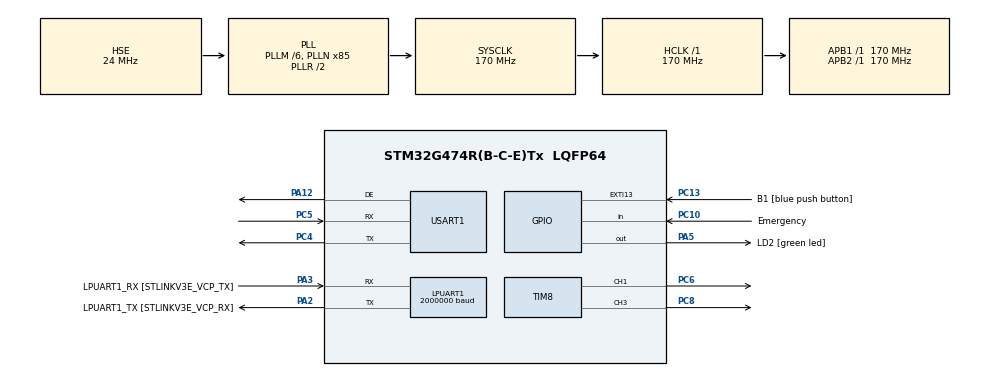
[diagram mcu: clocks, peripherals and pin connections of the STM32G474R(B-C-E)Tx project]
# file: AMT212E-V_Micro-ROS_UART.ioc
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Dma.LPUART1_RX.0.Direction=DMA_PERIPH_TO_MEMORY
Dma.LPUART1_RX.0.EventEnable=DISABLE
Dma.LPUART1_RX.0.Instance=DMA1_Channel1
Dma.LPUART1_RX.0.MemDataAlignment=DMA_MDATAALIGN_BYTE
Dma.LPUART1_RX.0.MemInc=DMA_MINC_ENABLE
Dma.LPUART1_RX.0.Mode=DMA_CIRCULAR
Dma.LPUART1_RX.0.PeriphDataAlignment=DMA_PDATAALIGN_BYTE
Dma.LPUART1_RX.0.PeriphInc=DMA_PINC_DISABLE
Dma.LPUART1_RX.0.Polarity=HAL_DMAMUX_REQ_GEN_RISING
Dma.LPUART1_RX.0.Priority=DMA_PRIORITY_VERY_HIGH
Dma.LPUART1_RX.0.RequestNumber=1
Dma.LPUART1_RX.0.SignalID=NONE
Dma.LPUART1_RX.0.SyncEnable=DISABLE
Dma.LPUART1_RX.0.SyncPolarity=HAL_DMAMUX_SYNC_NO_EVENT
Dma.LPUART1_RX.0.SyncRequestNumber=1
Dma.LPUART1_RX.0.SyncSignalID=NONE
Dma.LPUART1_TX.1.Direction=DMA_MEMORY_TO_PERIPH
Dma.LPUART1_TX.1.EventEnable=DISABLE
Dma.LPUART1_TX.1.Instance=DMA1_Channel2
Dma.LPUART1_TX.1.MemDataAlignment=DMA_MDATAALIGN_BYTE
Dma.LPUART1_TX.1.MemInc=DMA_MINC_ENABLE
Dma.LPUART1_TX.1.Mode=DMA_NORMAL
Dma.LPUART1_TX.1.PeriphDataAlignment=DMA_PDATAALIGN_BYTE
Dma.LPUART1_TX.1.PeriphInc=DMA_PINC_DISABLE
Dma.LPUART1_TX.1.Polarity=HAL_DMAMUX_REQ_GEN_RISING
Dma.LPUART1_TX.1.Priority=DMA_PRIORITY_VERY_HIGH
Dma.LPUART1_TX.1.RequestNumber=1
Dma.LPUART1_TX.1.SignalID=NONE
Dma.LPUART1_TX.1.SyncEnable=DISABLE
Dma.LPUART1_TX.1.SyncPolarity=HAL_DMAMUX_SYNC_NO_EVENT
Dma.LPUART1_TX.1.SyncRequestNumber=1
Dma.LPUART1_TX.1.SyncSignalID=NONE
Dma.Request0=LPUART1_RX
Dma.Request1=LPUART1_TX
Dma.Request2=USART1_RX
Dma.Request3=USART1_TX
Dma.USART1_RX.2.Direction=DMA_PERIPH_TO_MEMORY
Dma.USART1_RX.2.EventEnable=DISABLE
Dma.USART1_RX.2.Instance=DMA1_Channel3
Dma.USART1_RX.2.MemDataAlignment=DMA_MDATAALIGN_BYTE
Dma.USART1_RX.2.MemInc=DMA_MINC_ENABLE
Dma.USART1_RX.2.Mode=DMA_CIRCULAR
Dma.USART1_RX.2.PeriphDataAlignment=DMA_PDATAALIGN_BYTE
Dma.USART1_RX.2.PeriphInc=DMA_PINC_DISABLE
Dma.USART1_RX.2.Polarity=HAL_DMAMUX_REQ_GEN_RISING
Dma.USART1_RX.2.Priority=DMA_PRIORITY_LOW
Dma.USART1_RX.2.RequestNumber=1
Dma.USART1_RX.2.SignalID=NONE
Dma.USART1_RX.2.SyncEnable=DISABLE
Dma.USART1_RX.2.SyncPolarity=HAL_DMAMUX_SYNC_NO_EVENT
Dma.USART1_RX.2.SyncRequestNumber=1
Dma.USART1_RX.2.SyncSignalID=NONE
Dma.USART1_TX.3.Direction=DMA_MEMORY_TO_PERIPH
Dma.USART1_TX.3.EventEnable=DISABLE
Dma.USART1_TX.3.Instance=DMA1_Channel4
Dma.USART1_TX.3.MemDataAlignment=DMA_MDATAALIGN_BYTE
Dma.USART1_TX.3.MemInc=DMA_MINC_ENABLE
Dma.USART1_TX.3.Mode=DMA_NORMAL
Dma.USART1_TX.3.PeriphDataAlignment=DMA_PDATAALIGN_BYTE
Dma.USART1_TX.3.PeriphInc=DMA_PINC_DISABLE
Dma.USART1_TX.3.Polarity=HAL_DMAMUX_REQ_GEN_RISING
Dma.USART1_TX.3.Priority=DMA_PRIORITY_LOW
Dma.USART1_TX.3.RequestNumber=1
Dma.USART1_TX.3.SignalID=NONE
Dma.USART1_TX.3.SyncEnable=DISABLE
Dma.USART1_TX.3.SyncPolarity=HAL_DMAMUX_SYNC_NO_EVENT
Dma.USART1_TX.3.SyncRequestNumber=1
Dma.USART1_TX.3.SyncSignalID=NONE
FREERTOS.Tasks01=defaultTask,24,3000,StartDefaultTask,Default,NULL,Static,defaultTaskBuffer,defaultTaskControlBlock
LPUART1.BaudRate=2000000
Mcu.Family=STM32G4
Mcu.Name=STM32G474R(B-C-E)Tx
Mcu.Package=LQFP64
NVIC.DMA1_Channel1_IRQn=true\:5\:0\:false\:false\:true\:true\:false\:true\:true
NVIC.DMA1_Channel2_IRQn=true\:5\:0\:false\:false\:true\:true\:false\:true\:true
NVIC.DMA1_Channel3_IRQn=true\:5\:0\:false\:false\:true\:true\:false\:true\:true
NVIC.DMA1_Channel4_IRQn=true\:5\:0\:false\:false\:true\:true\:false\:true\:true
NVIC.EXTI15_10_IRQn=true\:5\:0\:false\:false\:true\:true\:true\:true\:true
NVIC.LPUART1_IRQn=true\:5\:0\:false\:false\:true\:true\:true\:true\:true
NVIC.PriorityGroup=NVIC_PRIORITYGROUP_4
NVIC.TIM1_UP_TIM16_IRQn=true\:15\:0\:false\:false\:true\:false\:false\:true\:true
NVIC.TIM2_IRQn=true\:5\:0\:false\:false\:true\:true\:true\:true\:true
NVIC.TimeBase=TIM1_UP_TIM16_IRQn
NVIC.TimeBaseIP=TIM1
NVIC.USART1_IRQn=true\:5\:0\:false\:false\:true\:true\:true\:true\:true
PA12.Mode=Hardware Flow Control (RS485)
PA12.Signal=USART1_DE
PA13.GPIO_Label=T_SWDIO
PA13.Signal=SYS_JTMS-SWDIO
PA14.GPIO_Label=T_SWCLK
PA14.Signal=SYS_JTCK-SWCLK
PA2.GPIO_Label=LPUART1_TX [STLINKV3E_VCP_RX]
PA2.Mode=Asynchronous
PA2.Signal=LPUART1_TX
PA3.GPIO_Label=LPUART1_RX [STLINKV3E_VCP_TX]
PA3.Mode=Asynchronous
PA3.Signal=LPUART1_RX
PA5.GPIO_Label=LD2 [green led]
PA5.Signal=GPIO_Output
PB3.GPIO_Label=T_SWO
PB3.Signal=SYS_JTDO-SWO
PC10.GPIO_Label=Emergency
PC10.Signal=GPIO_Input
PC13.GPIO_Label=B1 [blue push button]
PC13.Signal=GPXTI13
PC14-OSC32_IN.GPIO_Label=RCC_OSC32_IN
PC14-OSC32_IN.Signal=RCC_OSC32_IN
PC15-OSC32_OUT.GPIO_Label=RCC_OSC32_OUT
PC15-OSC32_OUT.Signal=RCC_OSC32_OUT
PC4.Mode=Asynchronous
PC4.Signal=USART1_TX
PC5.Mode=Asynchronous
PC5.Signal=USART1_RX
PC6.Signal=S_TIM8_CH1
PC8.Signal=S_TIM8_CH3
PF0-OSC_IN.GPIO_Label=RCC_OSC_IN
PF0-OSC_IN.Mode=HSE-External-Oscillator
PF0-OSC_IN.Signal=RCC_OSC_IN
PF1-OSC_OUT.GPIO_Label=RCC_OSC_OUT
PF1-OSC_OUT.Mode=HSE-External-Oscillator
PF1-OSC_OUT.Signal=RCC_OSC_OUT
ProjectManager.HeapSize=0x200
ProjectManager.StackSize=0x400
ProjectManager.TargetToolchain=STM32CubeIDE
RCC.ADC12Freq_Value=170000000
RCC.ADC345Freq_Value=170000000
RCC.AHBFreq_Value=170000000
RCC.APB1Freq_Value=170000000
RCC.APB1TimFreq_Value=170000000
RCC.APB2Freq_Value=170000000
RCC.APB2TimFreq_Value=170000000
RCC.CortexFreq_Value=170000000
RCC.EXTERNAL_CLOCK_VALUE=12288000
RCC.HCLKFreq_Value=170000000
RCC.HSE_VALUE=24000000
RCC.HSI48_VALUE=48000000
RCC.HSI_VALUE=16000000
RCC.LSE_VALUE=32768
RCC.PLLM=RCC_PLLM_DIV6
RCC.PLLN=85
RCC.PLLSourceVirtual=RCC_PLLSOURCE_HSE
RCC.RTCClockSelection=RCC_RTCCLKSOURCE_LSE
RCC.SYSCLKFreq_VALUE=170000000
RCC.SYSCLKSource=RCC_SYSCLKSOURCE_PLLCLK
RCC.USBFreq_Value=170000000
RCC.VCOOutputFreq_Value=340000000
SH.S_TIM8_CH1.0=TIM8_CH1,PWM Generation1 CH1
SH.S_TIM8_CH3.0=TIM8_CH3,PWM Generation3 CH3
TIM2.PeriodNoDither=999
TIM2.Prescaler=169
TIM8.Channel-PWM\ Generation1\ CH1=TIM_CHANNEL_1
TIM8.Channel-PWM\ Generation3\ CH3=TIM_CHANNEL_3
USART1.VirtualMode-Asynchronous=VM_ASYNC
USART1.VirtualMode-Hardware\ Flow\ Control\ (RS485)=VM_ASYNC
VP_FREERTOS_VS_CMSIS_V2.Mode=CMSIS_V2
VP_IWDG_VS_IWDG.Mode=IWDG_Activate
VP_SYS_VS_DBSignals.Mode=DisableDeadBatterySignals
VP_SYS_VS_tim1.Mode=TIM1
VP_TIM2_VS_ClockSourceINT.Mode=Internal
board=NUCLEO-G474RE

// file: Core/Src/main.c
/* USER CODE BEGIN Header */
/**
  ******************************************************************************
  * @file           : main.c
  * @brief          : Main program body
  ******************************************************************************
  * @attention
  *
  * Copyright (c) 2024 STMicroelectronics.
  * All rights reserved.
  *
  * This software is licensed under terms that can be found in the LICENSE file
  * in the root directory of this software component.
  * If no LICENSE file comes with this software, it is provided AS-IS.
  *
  ******************************************************************************
  */
/* USER CODE END Header */
#include "main.h"
#include "cmsis_os.h"
#include "dma.h"
#include "iwdg.h"
#include "usart.h"
#include "tim.h"
#include "gpio.h"

void SystemClock_Config(void);
void MX_FREERTOS_Init(void);

int main(void)
{

  /* MCU Configuration--------------------------------------------------------*/

  /* Reset of all peripherals, Initializes the Flash interface and the Systick. */
  HAL_Init();

  /* Configure the system clock */
  SystemClock_Config();

  /* Initialize all configured peripherals */
  MX_GPIO_Init();
  MX_DMA_Init();
  MX_LPUART1_UART_Init();
  MX_TIM2_Init();
  MX_USART1_UART_Init();
  MX_TIM8_Init();
  MX_IWDG_Init();

  /* Init scheduler */
  osKernelInitialize();

  /* Call init function for freertos objects (in cmsis_os2.c) */
  MX_FREERTOS_Init();

  /* Start scheduler */
  osKernelStart();

  /* We should never get here as control is now taken by the scheduler */

  /* Infinite loop */
  while (1)
  {

    /* USER CODE BEGIN 3 */
//      HAL_IWDG_Refresh(&hiwdg);

  }
  /* USER CODE END 3 */
}

void SystemClock_Config(void)
{
  RCC_OscInitTypeDef RCC_OscInitStruct = {0};
  RCC_ClkInitTypeDef RCC_ClkInitStruct = {0};

  /** Configure the main internal regulator output voltage
  */
  HAL_PWREx_ControlVoltageScaling(PWR_REGULATOR_VOLTAGE_SCALE1_BOOST);

  /** Initializes the RCC Oscillators according to the specified parameters
  * in the RCC_OscInitTypeDef structure.
  */
  RCC_OscInitStruct.OscillatorType = RCC_OSCILLATORTYPE_LSI|RCC_OSCILLATORTYPE_HSE;
  RCC_OscInitStruct.HSEState = RCC_HSE_ON;
  RCC_OscInitStruct.LSIState = RCC_LSI_ON;
  RCC_OscInitStruct.PLL.PLLState = RCC_PLL_ON;
  RCC_OscInitStruct.PLL.PLLSource = RCC_PLLSOURCE_HSE;
  RCC_OscInitStruct.PLL.PLLM = RCC_PLLM_DIV6;
  RCC_OscInitStruct.PLL.PLLN = 85;
  RCC_OscInitStruct.PLL.PLLP = RCC_PLLP_DIV2;
  RCC_OscInitStruct.PLL.PLLQ = RCC_PLLQ_DIV2;
  RCC_OscInitStruct.PLL.PLLR = RCC_PLLR_DIV2;
  if (HAL_RCC_OscConfig(&RCC_OscInitStruct) != HAL_OK)
  {
    Error_Handler();
  }

  /** Initializes the CPU, AHB and APB buses clocks
  */
  RCC_ClkInitStruct.ClockType = RCC_CLOCKTYPE_HCLK|RCC_CLOCKTYPE_SYSCLK
                              |RCC_CLOCKTYPE_PCLK1|RCC_CLOCKTYPE_PCLK2;
  RCC_ClkInitStruct.SYSCLKSource = RCC_SYSCLKSOURCE_PLLCLK;
  RCC_ClkInitStruct.AHBCLKDivider = RCC_SYSCLK_DIV1;
  RCC_ClkInitStruct.APB1CLKDivider = RCC_HCLK_DIV1;
  RCC_ClkInitStruct.APB2CLKDivider = RCC_HCLK_DIV1;

  if (HAL_RCC_ClockConfig(&RCC_ClkInitStruct, FLASH_LATENCY_4) != HAL_OK)
  {
    Error_Handler();
  }
}

void Error_Handler(void)
{
  __disable_irq();
  while (1)
  {
  }
}

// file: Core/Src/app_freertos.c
/* USER CODE BEGIN Header */
/**
  ******************************************************************************
  * File Name          : app_freertos.c
  * Description        : Code for freertos applications
  ******************************************************************************
  * @attention
  *
  * Copyright (c) 2024 STMicroelectronics.
  * All rights reserved.
  *
  * This software is licensed under terms that can be found in the LICENSE file
  * in the root directory of this software component.
  * If no LICENSE file comes with this software, it is provided AS-IS.
  *
  ******************************************************************************
  */
/* USER CODE END Header */

#include "FreeRTOS.h"
#include "task.h"
#include "main.h"
#include "cmsis_os.h"

/* USER CODE BEGIN Includes */
#include "dma.h"
#include "iwdg.h"
#include "usart.h"
#include "tim.h"
#include "gpio.h"

#include <rcl/rcl.h>
#include <rcl/error_handling.h>
#include <rclc/rclc.h>
#include <rclc/executor.h>
#include <uxr/client/transport.h>
#include <rmw_microxrcedds_c/config.h>
#include <rmw_microros/rmw_microros.h>

#include "AMT212EV.h"
#include "PWM.h"
#include "Controller.h"
#include "Cytron_MDXX.h"
#include "math.h"

#include <amt212ev_interfaces/msg/amt_read.h>
#include <std_msgs/msg/float32.h>
#include <std_msgs/msg/int8.h>
/* USER CODE END Includes */

typedef StaticTask_t osStaticThreadDef_t;

/* USER CODE BEGIN PD */
#define ALPHA 0.1
/* USER CODE END PD */

/* USER CODE BEGIN PM */
#define RCSOFTCHECK(fn) if (fn != RCL_RET_OK) {};
/* USER CODE END PM */

/* USER CODE BEGIN Variables */
AMT212EV amt;
MDXX motor;
PID_CONTROLLER pid_pos;
PID_CONTROLLER pid_vel;

int32_t t =0;
float theta=0;
#define SAMPLE_RATE 1000 // Define the sample rate in Hz
#define FREQUENCY 0.5f   // Define the sine wave frequency in Hz

float kp_pos = 6.0;
float ki_pos = 0.0;
float kd_pos= 0.0;
float u_max_pos = 6.0;

float kp_vel = 7200;
float ki_vel = 220.0;
float kd_vel= 0.0;
float u_max_vel = 65535.0;

float cmd_vx = 0;
float cmd_ux = 0;
float setpoint = 0;

float error_pose = 0.0;
float filtered_value = 0.0;
float steering_angle = 0.0;

float vel_filt = 0.0;
float pos_filt = 0.0;

int8_t steering_mode = 0.0;

int16_t sync_counter = 1000;

rcl_node_t node;

rcl_publisher_t amt_publisher;
amt212ev_interfaces__msg__AmtRead amt_msg_pub;

rcl_subscription_t amt_subscription;
amt212ev_interfaces__msg__AmtRead amt_msg_sub;

rcl_subscription_t amt_subscription_mode;
amt212ev_interfaces__msg__AmtRead amt_msg_sub_mode;
/* USER CODE END Variables */
/* Definitions for defaultTask */
osThreadId_t defaultTaskHandle;
uint32_t defaultTaskBuffer[ 3000 ];
osStaticThreadDef_t defaultTaskControlBlock;
const osThreadAttr_t defaultTask_attributes = {
  .name = "defaultTask",
  .stack_mem = &defaultTaskBuffer[0],
  .stack_size = sizeof(defaultTaskBuffer),
  .cb_mem = &defaultTaskControlBlock,
  .cb_size = sizeof(defaultTaskControlBlock),
  .priority = (osPriority_t) osPriorityNormal,
};

/* USER CODE BEGIN FunctionPrototypes */
bool cubemx_transport_open(struct uxrCustomTransport * transport);
bool cubemx_transport_close(struct uxrCustomTransport * transport);
size_t cubemx_transport_write(struct uxrCustomTransport* transport, const uint8_t * buf, size_t len, uint8_t * err);
size_t cubemx_transport_read(struct uxrCustomTransport* transport, uint8_t* buf, size_t len, int timeout, uint8_t* err);

void * microros_allocate(size_t size, void * state);
void microros_deallocate(void * pointer, void * state);
void * microros_reallocate(void * pointer, size_t size, void * state);
void * microros_zero_allocate(size_t number_of_elements, size_t size_of_element, void * state);

void timer_callback(rcl_timer_t * timer, int64_t last_call_time);

void amt_publish(double rads, double radps);
void subscription_callback(const void * msgin);
void subscription_callback_mode(const void * msgin);

float update_filter(float input);
/* USER CODE END FunctionPrototypes */

void StartDefaultTask(void *argument);

void MX_FREERTOS_Init(void); /* (MISRA C 2004 rule 8.1) */

void MX_FREERTOS_Init(void) {
  /* USER CODE BEGIN Init */
	AMT212EV_Init(&amt, &huart1, 1000, 16384);
	PID_CONTROLLER_Init(&pid_pos, kp_pos, ki_pos, kd_pos, u_max_pos);
	PID_CONTROLLER_Init(&pid_vel, kp_vel, ki_vel, kd_vel, u_max_vel);
	MDXX_init(&motor, &htim8, TIM_CHANNEL_3, &htim8, TIM_CHANNEL_1);
	MDXX_set_range(&motor, 2000, 0);
	HAL_TIM_Base_Start_IT(&htim2);
  /* USER CODE END Init */

  /* Create the thread(s) */
  /* creation of defaultTask */
  defaultTaskHandle = osThreadNew(StartDefaultTask, NULL, &defaultTask_attributes);

}

void StartDefaultTask(void *argument)
{
  /* USER CODE BEGIN StartDefaultTask */

  // micro-ROS configuration
  rmw_uros_set_custom_transport(
	true,
	(void *) &hlpuart1,
	cubemx_transport_open,
	cubemx_transport_close,
	cubemx_transport_write,
	cubemx_transport_read);

  rcl_allocator_t freeRTOS_allocator = rcutils_get_zero_initialized_allocator();
  freeRTOS_allocator.allocate = microros_allocate;
  freeRTOS_allocator.deallocate = microros_deallocate;
  freeRTOS_allocator.reallocate = microros_reallocate;
  freeRTOS_allocator.zero_allocate =  microros_zero_allocate;

  if (!rcutils_set_default_allocator(&freeRTOS_allocator)) {
	  printf("Error on default allocators (line %d)\n", __LINE__);
  }

	// micro-ROS app
  rcl_timer_t AMT_timer;
  rclc_support_t support;
  rclc_executor_t executor;
  rcl_allocator_t allocator;
  rcl_init_options_t init_options;

  const unsigned int timer_period = RCL_MS_TO_NS(1);
  const int timeout_ms = 5000;
  int executor_num = 3;

  const rosidl_message_type_support_t * amt_pub_type_support =
  	  ROSIDL_GET_MSG_TYPE_SUPPORT(amt212ev_interfaces, msg, AmtRead);

  const rosidl_message_type_support_t * amt_sub_type_support =
    	  ROSIDL_GET_MSG_TYPE_SUPPORT(std_msgs, msg, Float32);

  const rosidl_message_type_support_t * amt_sub_type_support_mode =
    	  ROSIDL_GET_MSG_TYPE_SUPPORT(std_msgs, msg, Int8);

  allocator = rcl_get_default_allocator();

  executor = rclc_executor_get_zero_initialized_executor();

  init_options = rcl_get_zero_initialized_init_options();

  RCSOFTCHECK(rcl_init_options_init(&init_options, allocator));
  RCSOFTCHECK(rcl_init_options_set_domain_id(&init_options, 198));

  // create support init_options
  rclc_support_init_with_options(&support, 0, NULL, &init_options, &allocator);

  // create timer
  rclc_timer_init_default(&AMT_timer, &support, timer_period, timer_callback);

  // create node
  rclc_node_init_default(&node, "uros_AMT_Node", "", &support);

  // create publisher
  rclc_publisher_init_best_effort(&amt_publisher, &node, amt_pub_type_support, "amt_publisher");

  // create subscriber
  rclc_subscription_init_default(&amt_subscription, &node, amt_sub_type_support, "steering_angle");
  rclc_subscription_init_default(&amt_subscription_mode, &node, amt_sub_type_support_mode, "steering_mode");
  // create service server

  // create service client

  // create executor
  rclc_executor_init(&executor, &support.context, executor_num, &allocator);

  rclc_executor_add_timer(&executor, &AMT_timer);
  rclc_executor_add_subscription(&executor, &amt_subscription, &amt_msg_sub, &subscription_callback, ON_NEW_DATA);
  rclc_executor_add_subscription(&executor, &amt_subscription_mode, &amt_msg_sub_mode, &subscription_callback_mode, ON_NEW_DATA);

  rclc_executor_spin(&executor);
  rmw_uros_sync_session(timeout_ms);

  for(;;)
  {
//	osDelay(10);
  }
  /* USER CODE END StartDefaultTask */
}

/* USER CODE BEGIN Application */
//void timer_callback(rcl_timer_t * timer, int64_t last_call_time)
//{
//	if (timer != NULL)
//	{
//		amt_publish(amt.rads,amt.radps);
//		if (uwTick >= sync_counter) {  // Sync session at lower frequency
//			rmw_uros_sync_session(1000);
//			sync_counter += 1000;
//		}
//		HAL_IWDG_Refresh(&hiwdg);
//		cc++;
//	}
//}

void timer_callback(rcl_timer_t * timer, int64_t last_call_time)
{
    if (timer != NULL)
    {
        // Publish data
        amt_publish(amt.rads, amt.radps);

        static uint32_t sync_counter = 0;
        if (sync_counter <= HAL_GetTick()) {

            if (rmw_uros_ping_agent(100, 1) == RMW_RET_OK) {
                rmw_uros_sync_session(1000); // Sync if agent is reachable
            }
            else {
                // If the agent is not reachable, let the watchdog reset the MCU
            	NVIC_SystemReset();
            }

            sync_counter = HAL_GetTick() + 1000;
        }

        // Refresh watchdog to prevent reset during normal operation
        HAL_IWDG_Refresh(&hiwdg);

    }
}

void amt_publish(double rads, double radps)
{
	amt_msg_pub.rads = rads;
	amt_msg_pub.radps = radps;
	rcl_ret_t ret = rcl_publish(&amt_publisher, &amt_msg_pub, NULL);
	if (ret != RCL_RET_OK) printf("Error publishing (line %d)\n", __LINE__);
}

void subscription_callback(const void * msgin)
{
	const std_msgs__msg__Float32 * amt_msg_sub = (const std_msgs__msg__Float32 *)msgin;
	steering_angle = amt_msg_sub->data;
}

void subscription_callback_mode(const void * msgin)
{
	const std_msgs__msg__Int8 * amt_msg_sub_mode = (const std_msgs__msg__Int8 *)msgin;
	steering_mode = amt_msg_sub_mode->data;
}

void HAL_TIM_PeriodElapsedCallback(TIM_HandleTypeDef *htim)
{
	  if (htim->Instance == TIM1) {
	    HAL_IncTick();
	  }

	  if (htim->Instance == TIM2)
	  {

		if (HAL_GPIO_ReadPin(GPIOC, GPIO_PIN_13) == GPIO_PIN_SET)
		{
			AMT212EV_SetZero(&amt);
		}

	    AMT212EV_ReadPosition(&amt);
	    AMT212EV_DiffCount(&amt);
	    AMT212EV_Compute(&amt);

	    vel_filt = -update_filter(amt.radps);
	    pos_filt = -amt.rads;

	    if (steering_angle >= (0.61))
	    	{
	    	steering_angle = 0.6;
	    	}
	    if (steering_angle <= (-0.61))
	    	{
	    	steering_angle = -0.6;
	    	}
	    if (pos_filt >= (0.7))
			{
			steering_angle = 0.6;
			}
		if (pos_filt <= (-0.7))
			{
			steering_angle = -0.6;
			}

	    if (uwTick > 1000)
	    {
//			static int toggle_flag = 0; // Keeps track of PWM toggle state
//
//			if (t >= 3000) {
//				// Toggle PWM between 45 and -45
//				if (toggle_flag == 0) {
//					setpoint = 0.5;
//					toggle_flag = 1;
//				} else {
//					setpoint = -0.5;
//					toggle_flag = 0;
//				}
//				t = 0; // Reset timer
//			}
//			static float phase = 0.0f; // Phase accumulator for the sine wave
//			theta = sinf(phase) * 0.5; // Scale sine wave amplitude to +/- 45
//			phase += (2 * M_PI * FREQUENCY) / SAMPLE_RATE; // Increment phase based on sample rate
//			if (phase >= 2 * M_PI) {
//				phase -= 2 * M_PI; // Wrap phase within [0, 2*PI]
//			}

			error_pose = steering_angle - pos_filt;

	    	cmd_vx = PID_CONTROLLER_Compute(&pid_pos,error_pose);
	    	cmd_ux = PWM_Satuation(PID_CONTROLLER_Compute(&pid_vel, cmd_vx -vel_filt), 65535, -65535);
//			MDXX_set_range(&motor, 2000, cmd_ux);
	    }
	    else
	    {
	    	cmd_ux = 0;
	    }

	    MDXX_set_range(&motor, 2000,cmd_ux);

//	    t+=1;

	  }
}

float update_filter(float input) {
    // Low-pass filter formula
    filtered_value = ALPHA * input + (1.0 - ALPHA) * filtered_value;
    return filtered_value;
}
/* USER CODE END Application */
